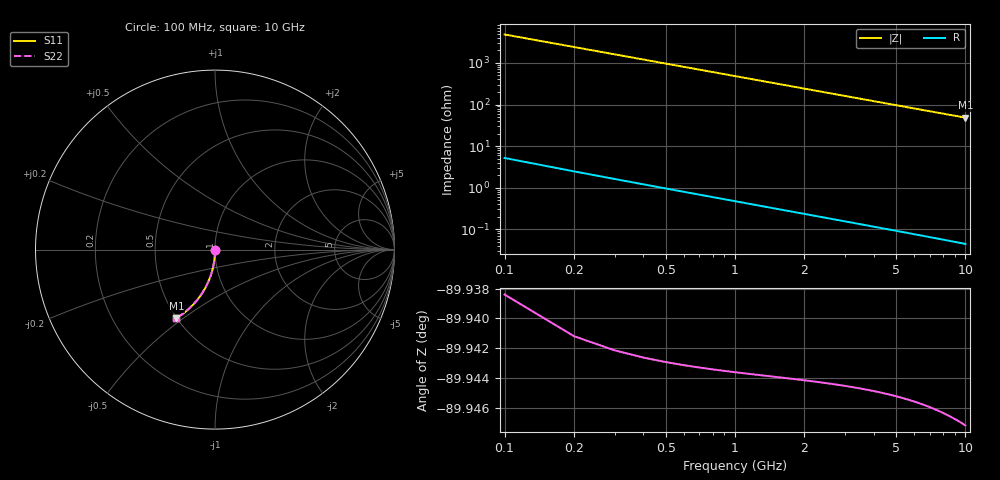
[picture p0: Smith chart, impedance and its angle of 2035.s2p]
# Hz S RI R 50.00
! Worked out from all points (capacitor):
!   100 points, 100 MHz to 10 GHz, reference 50 ohm
!   read as one part in shunt: C = 330 fF near 100 MHz
!   lowest |Z| = 48.4 ohm at 10 GHz (marker M1)
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1e8  8.81e-05 -0.0049  0.9998 -0.00547  0.9998 -0.00547  8.81e-05 -0.0049
2e8  3.46e-06 -0.00979  0.9998 -0.0109  0.9998 -0.0109  3.46e-06 -0.00979
3e8  -0.000135 -0.0147  0.9996 -0.0164  0.9996 -0.0164  -0.000135 -0.0147
4e8  -0.000327 -0.0196  0.9994 -0.0219  0.9994 -0.0219  -0.000327 -0.0196
5e8  -0.000572 -0.0245  0.9992 -0.0273  0.9992 -0.0273  -0.000572 -0.0245
6e8  -0.000871 -0.0293  0.9989 -0.0328  0.9989 -0.0328  -0.000871 -0.0293
7e8  -0.00122 -0.0342  0.9985 -0.0383  0.9985 -0.0383  -0.00122 -0.0342
8e8  -0.00163 -0.0391  0.9981 -0.0437  0.9981 -0.0437  -0.00163 -0.0391
9e8  -0.00209 -0.044  0.9977 -0.0492  0.9977 -0.0492  -0.00209 -0.044
1.1e9  -0.00316 -0.0537  0.9966 -0.06  0.9966 -0.06  -0.00316 -0.0537
1.4e9  -0.00517 -0.0682  0.9945 -0.0763  0.9945 -0.0763  -0.00517 -0.0682
1.8e9  -0.00858 -0.0874  0.9911 -0.0977  0.9911 -0.0977  -0.00858 -0.0874
2.1e9  -0.0117 -0.1016  0.988 -0.1137  0.988 -0.1137  -0.0117 -0.1016
2.5e9  -0.0165 -0.1204  0.9831 -0.1348  0.9831 -0.1348  -0.0165 -0.1204
2.9e9  -0.0221 -0.1388  0.9775 -0.1556  0.9775 -0.1556  -0.0221 -0.1388
3.4e9  -0.0302 -0.1614  0.9694 -0.1811  0.9694 -0.1811  -0.0302 -0.1614
4.2e9  -0.0454 -0.1962  0.954 -0.2205  0.954 -0.2205  -0.0454 -0.1962
5.1e9  -0.0657 -0.2332  0.9336 -0.2627  0.9336 -0.2627  -0.0657 -0.2332
5.9e9  -0.0862 -0.2637  0.9129 -0.2979  0.9129 -0.2979  -0.0862 -0.2637
6.7e9  -0.1087 -0.2919  0.8903 -0.3308  0.8903 -0.3308  -0.1087 -0.2919
8.4e9  -0.1614 -0.3436  0.8371 -0.3926  0.8371 -0.3926  -0.1614 -0.3436
1e10  -0.2152 -0.3819  0.7828 -0.4403  0.7828 -0.4403  -0.2152 -0.3819
